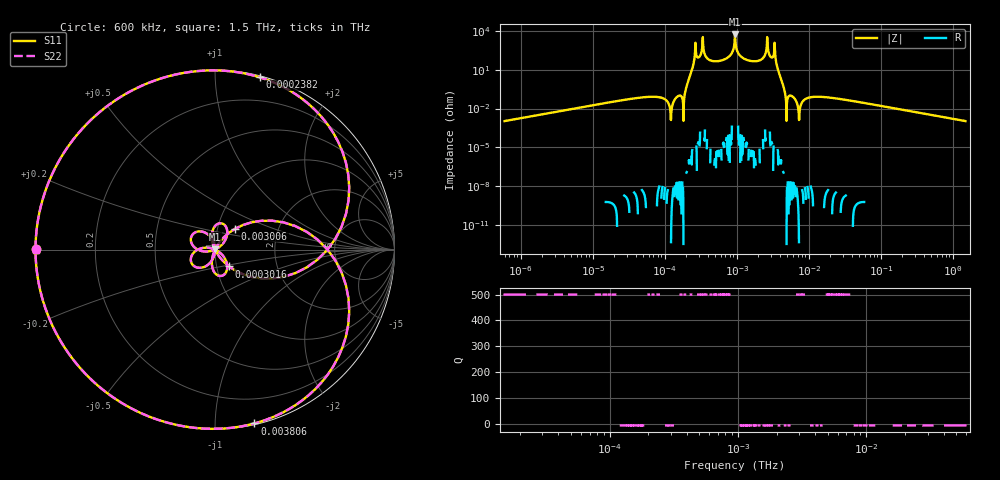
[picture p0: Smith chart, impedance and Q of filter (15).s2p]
! rf-tools.com
! Date: Thu Jan 30 2020 11:40:55 GMT+0000 (格林尼治标准时间)
# Hz S DB R 50.00
!Frequency  S11 dB  S11 Deg  S21 dB  S21 Deg  S12 dB  S12 Deg  S22 dB  S22 Deg
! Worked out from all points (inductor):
!   2000 points, 600 kHz to 1.5 THz, reference 50 ohm
!   read as one part in shunt: L = 286 pH near 645.9 kHz
!   highest |Z| = 5.27 kohm at 945.2 MHz (marker M1)
!   self-resonance near 122.3 MHz
!   S11 on the Smith chart (normalised r, x): 600 kHz: 0.00, +0.00; 238.2 MHz: 0.01, +1.29; 301.6 MHz: 1.15, -0.22; 3.006 GHz: 1.22, +0.29; 3.806 GHz: 0.01, -1.25; 1.5 THz: 0.00, -0.00
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600000  -0.00 179.8  -87.30 89.8  -87.30 89.8  -0.00 179.8
7033018  -0.00 177.9  -65.95 87.9  -65.95 87.9  -0.00 177.9
8.18336e7  -0.00 155.1  -50.66 65.1  -50.66 65.1  -0.00 155.1
1.245559e8  -0.00 140.3  -72.44 -129.7  -72.44 -129.7  -0.00 140.3
1.49754e8  -0.00 130.4  -51.30 -139.6  -51.30 -139.6  -0.00 130.4
1.840748e8  -0.00 114.5  -66.68 24.5  -66.68 24.5  -0.00 114.5
2.382398e8  -0.07 75.4  -17.83 -14.6  -17.83 -14.6  -0.07 75.4
3.016009e8  -18.28 -50.2  -0.06 -140.2  -0.06 -140.2  -18.28 -50.2
4.590554e8  -23.85 -171.1  -0.02 98.9  -0.02 98.9  -23.85 -171.1
6.734335e8  -17.32 131.9  -0.08 41.9  -0.08 41.9  -17.32 131.9
9.45194e8  -55.00 90.4  -0.00 0.4  -0.00 0.4  -55.00 90.4
9.521854e8  -55.00 -90.4  -0.00 -0.4  -0.00 -0.4  -55.00 -90.4
1.336435e9  -17.32 -131.9  -0.08 -41.9  -0.08 -41.9  -17.32 -131.9
1.960548e9  -23.85 171.1  -0.02 -98.9  -0.02 -98.9  -23.85 171.1
2.613363e9  -16.43 -76.0  -0.10 -166.0  -0.10 -166.0  -16.43 -76.0
3.006149e9  -15.78 45.9  -0.12 135.9  -0.12 135.9  -15.78 45.9
3.805649e9  -0.06 -77.2  -18.62 12.8  -18.62 12.8  -0.06 -77.2
4.889316e9  -0.00 -114.5  -66.68 -24.5  -66.68 -24.5  -0.00 -114.5
7.225674e9  -0.00 -140.3  -72.44 129.7  -72.44 129.7  -0.00 -140.3
1.107928e10  -0.00 -155.3  -50.61 -65.3  -50.61 -65.3  -0.00 -155.3
1.289144e11  -0.00 -177.9  -66.01 -87.9  -66.01 -87.9  -0.00 -177.9
1.5e12  -0.00 -179.8  -87.30 -89.8  -87.30 -89.8  -0.00 -179.8
